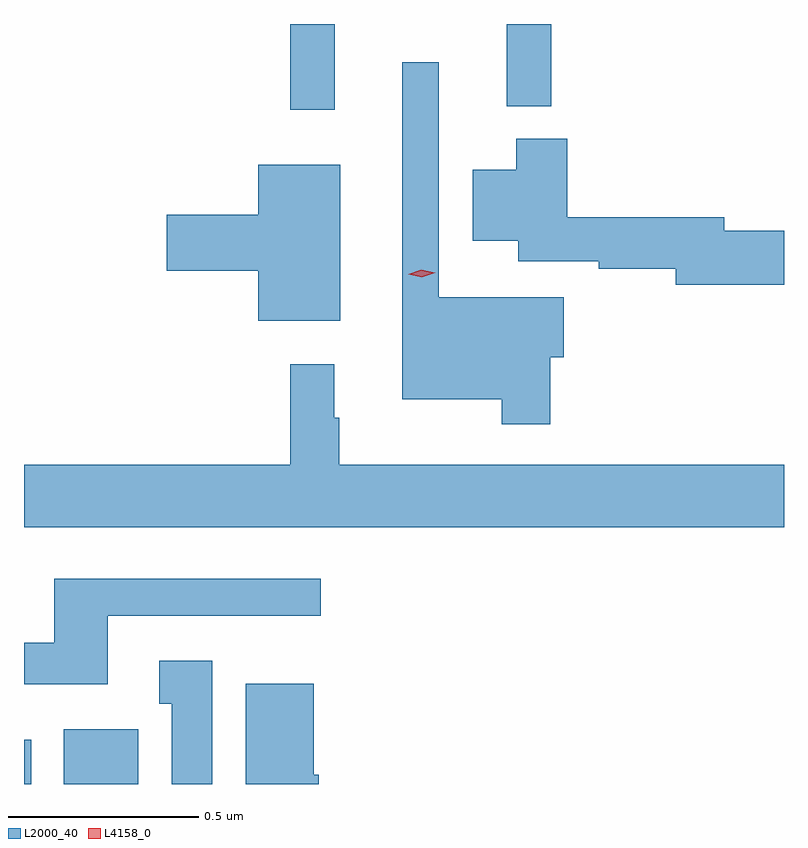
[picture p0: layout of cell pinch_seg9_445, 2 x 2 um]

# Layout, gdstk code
import gdstk
lib = gdstk.Library(unit=1e-6, precision=1e-09)
def R(c, l, rs):  # rectangles x0, y0, x1, y1
    for r in rs: c.add(gdstk.rectangle(r[:2], r[2:], *l))
def P(c, l, *ps):  # polygons
    for p in ps: c.add(gdstk.Polygon(p, *l))
L2000_40 = (2000, 40)
L4158_0 = (4158, 0)

pinch_seg9_445 = lib.new_cell('pinch_seg9_445')
R(pinch_seg9_445, L2000_40, [(218.019,1222.384,218.038,1222.501), (218.123,1222.384,218.32,1222.528), (218.719,1224.159,218.837,1224.384), (219.29,1224.167,219.407,1224.384)])
P(pinch_seg9_445, L2000_40, [(219.404,1223.507),(219.439,1223.507),(219.439,1223.665),(219.111,1223.665),(219.111,1224.283),(219.014,1224.283),(219.014,1223.396),(219.276,1223.396),(219.276,1223.331),(219.404,1223.331)],
  [(220.019,1223.84),(219.862,1223.84),(219.862,1223.876),(219.449,1223.876),(219.449,1224.082),(219.314,1224.082),(219.314,1224.001),(219.2,1224.001),(219.2,1223.813),(219.32,1223.813),(219.32,1223.76),(219.532,1223.76),(219.532,1223.74),(219.734,1223.74),(219.734,1223.698),(220.019,1223.698)],
  [(218.851,1224.013),(218.636,1224.013),(218.636,1223.882),(218.394,1223.882),(218.394,1223.735),(218.636,1223.735),(218.636,1223.603),(218.851,1223.603)],
  [(220.019,1223.224),(218.848,1223.224),(218.848,1223.348),(218.836,1223.348),(218.836,1223.488),(218.719,1223.488),(218.719,1223.224),(218.019,1223.224),(218.019,1223.06),(220.019,1223.06)],
  [(218.239,1222.827),(218.8,1222.827),(218.8,1222.924),(218.099,1222.924),(218.099,1222.756),(218.019,1222.756),(218.019,1222.646),(218.239,1222.646)],
  [(218.515,1222.708),(218.375,1222.708),(218.375,1222.595),(218.408,1222.595),(218.408,1222.384),(218.515,1222.384)],
  [(218.795,1222.408),(218.782,1222.408),(218.782,1222.648),(218.603,1222.648),(218.603,1222.384),(218.795,1222.384)])
P(pinch_seg9_445, L4158_0, [(219.066,1223.717),(219.03,1223.725),(219.03,1223.725),(219.03,1223.725),(219.065,1223.737),(219.101,1223.729),(219.101,1223.729),(219.101,1223.729)])

lib.write_gds('pinch_seg9_445.gds')
